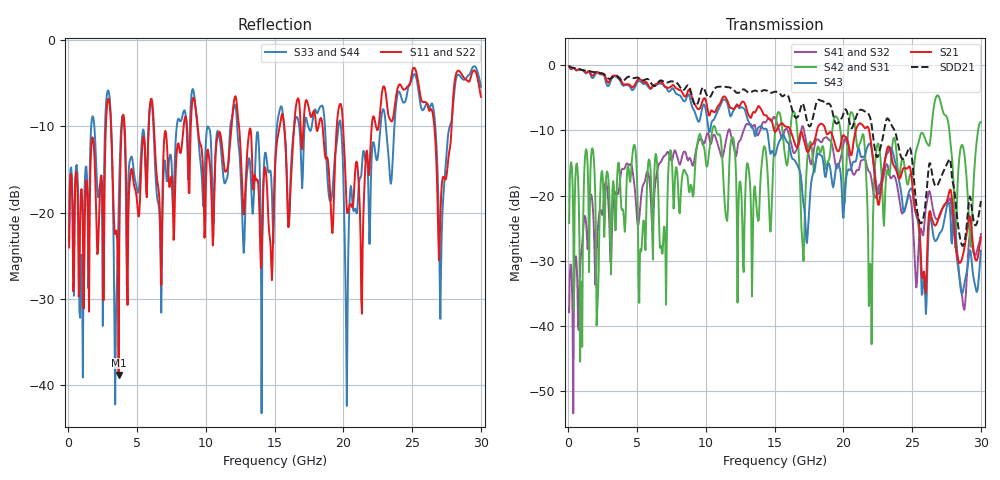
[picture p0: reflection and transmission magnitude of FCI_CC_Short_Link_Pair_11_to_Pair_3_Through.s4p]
! FCI USA LLC
! FCI_CC_Short_Link_Pair_11_to_Pair_3_Through.s4p
! PART DESCRIPTION: FCI Connector Concept 0.15 m Simulated Channel Model
! FREQUENCY RANGE: 50 MHz to 30 GHz in 50 MHz frequency steps
! PORT DEFINITIONS:
! Port  1  ----->  TX  Pin G5(Side B) -- Pin G5(Side A)  RX  <-----  Port  2
! Port  3  ----->  TX  Pin H5(Side B) -- Pin H5(Side A)  RX  <-----  Port  4
! Information
! FCI endeavors to use its reasonable efforts to place accurate and
! up-to-date information in this Touchstone file.  However, this file is
! provided on an as is basis.  FCI GIVES NO WARRANTY, EXPRESS OR
! IMPLIED, WITH RESPECT TO ANY INFORMATION PROVIDED IN THIS FILE,
! INCLUDING BUT NOT LIMITED TO THE IMPLIED WARRANTIES OF
! MERCHANTABILITY, FITNESS FOR A PARTICULAR PURPOSE OR NON-INFRINGEMENT.
! FCI SHALL NOT BE LIABLE FOR ANY DIRECT, SPECIAL, INDIRECT,
! CONSEQUENTIAL, PUNITIVE OR OTHER DAMAGES BASED ON USE OF THIS FILE.
#	Hz	S	RI	R	50
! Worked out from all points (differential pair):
!   600 points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, 50 MHz to 30 GHz, reference 50 ohm
!   strongest paths, dB at 50 MHz, 7.55 GHz, 15.05 GHz, 22.55 GHz, 30 GHz:
!     S21: -0.1, -3.1, -10.2, -21.5, -26.4
!     S43: -0.1, -3.5, -13.8, -19.8, -28.5
!     S42: -24.2, -15.7, -9.6, -12.0, -8.7
!     S31: -24.2, -15.7, -9.6, -12.0, -8.7
!     S41: -37.9, -14.5, -8.2, -18.8, -25.9
!     S32: -37.9, -14.5, -8.2, -18.8, -25.9
!   taken as a pair (ports 1,3 in; 2,4 out), SDD21 dB: -0.1, -2.5, -4.0, -13.8, -20.9
!   lowest |S11| = -38.8 dB at 3.65 GHz (marker M1), VSWR 1.02, Z = 49.5 - j1 ohm
!   |S11| at or under -10 dB: start of sweep to 2.724 GHz; 9.396 GHz to 11.87 GHz (2.471 GHz wide, 23.2 % of centre); 12.41 GHz to 15.37 GHz (2.96 GHz wide, 21.3 % of centre) (the widest 3 of 14)
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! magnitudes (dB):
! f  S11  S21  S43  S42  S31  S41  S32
! 50 MHz  -24.0  -0.1  -0.1  -24.2  -24.2  -37.9  -37.9
! 3.65 GHz  -38.8  -1.8  -2.1  -14.9  -14.9  -19.5  -19.5
! 17.05 GHz  -11.3  -10.9  -20.5  -28.2  -28.2  -9.3  -9.3
! 20.6 GHz  -19.2  -13.7  -15.6  -7.2  -7.2  -16.0  -16.0
! 21.95 GHz  -13.1  -11.0  -12.1  -30.5  -30.5  -16.6  -16.6
! 22.5 GHz  -10.4  -21.1  -19.6  -12.0  -12.0  -19.2  -19.2
! 30 GHz  -6.6  -26.4  -28.5  -8.7  -8.7  -25.9  -25.9
